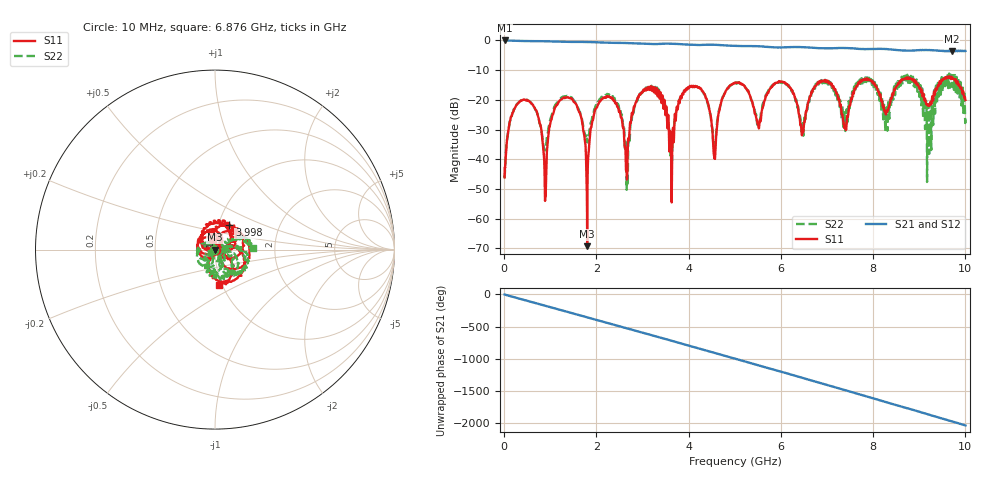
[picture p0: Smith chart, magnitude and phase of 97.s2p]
!Keysight Technologies,E5080B,MY59205177,A.15.75.32
!Date: Friday, February 23, 2024 03:35:19
!Correction: S11(Cdelta 2-Port  )
!S21(Cdelta 2-Port  )
!S12(Cdelta 2-Port  )
!S22(Cdelta 2-Port  )
!S2P File: Measurements: S11, S21, S12, S22:
# Hz S  dB  R 50
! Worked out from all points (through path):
!   10001 points, 10 MHz to 10 GHz, reference 50 ohm
!   highest |S21| = -0.02 dB at 10 MHz (marker M1); lowest = -3.7 dB at 9.701 GHz (marker M2)
!   group delay of S21, straight-line fit = 565 ps
!   lowest |S11| = -69.2 dB at 1.8 GHz (marker M3), VSWR 1.00, Z = 50 - j0.034 ohm
!   |S11| at or under -10 dB: start of sweep to end of sweep
!   |S22| runs from -50.2 to -11.1 dB; largest |S21 - S12| = 0.0016
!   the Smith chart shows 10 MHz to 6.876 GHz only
!   S11 on the Smith chart (normalised r, x): 10 MHz: 1.01, -0.00; 3.998 GHz: 1.13, +0.31; 6.876 GHz: 0.96, -0.40
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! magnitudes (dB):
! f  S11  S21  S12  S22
! 10 MHz  -46.1  0.0  0.0  -45.9
! 373.6 MHz  -20.2  -0.2  -0.2  -20.1
! 888.1 MHz  -53.3  -0.3  -0.3  -36.8
! 1.178 GHz  -20.8  -0.4  -0.4  -20.2
! 1.675 GHz  -26.1  -0.5  -0.5  -25.6
! 1.8 GHz  -69.2  -0.5  -0.5  -33.2
! 2.109 GHz  -19.9  -0.7  -0.7  -19.0
! 2.662 GHz  -46.4  -0.9  -0.9  -43.7
! 2.892 GHz  -19.3  -1.0  -1.0  -20.0
! 3.341 GHz  -17.4  -1.2  -1.2  -17.7
! 3.627 GHz  -47.1  -1.1  -1.1  -41.9
! 3.998 GHz  -16.0  -1.4  -1.4  -15.9
! 4.561 GHz  -39.4  -1.5  -1.5  -38.5
! 5.005 GHz  -14.2  -1.9  -1.9  -14.5
! 6.464 GHz  -31.4  -2.3  -2.3  -27.9
! 6.67 GHz  -17.3  -2.4  -2.4  -17.0
! 6.876 GHz  -14.0  -2.6  -2.6  -13.4
! 7.385 GHz  -29.5  -2.6  -2.6  -26.0
! 7.796 GHz  -13.1  -2.9  -2.9  -12.9
! 8.336 GHz  -22.7  -3.0  -3.0  -20.9
! 9.701 GHz  -12.2  -3.7  -3.7  -13.8
! 10 GHz  -20.0  -3.6  -3.6  -25.5
